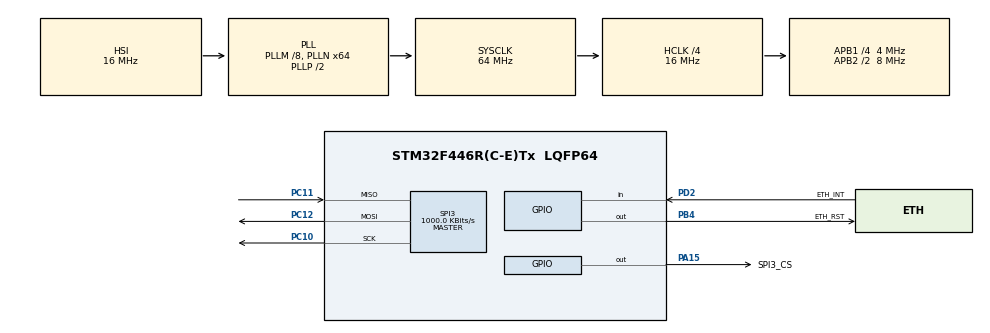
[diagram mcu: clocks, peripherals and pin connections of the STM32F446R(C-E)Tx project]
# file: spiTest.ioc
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Mcu.Family=STM32F4
Mcu.Name=STM32F446R(C-E)Tx
Mcu.Package=LQFP64
NVIC.PriorityGroup=NVIC_PRIORITYGROUP_4
PA13.Mode=Trace_Asynchronous_SW
PA13.Signal=SYS_JTMS-SWDIO
PA14.Mode=Trace_Asynchronous_SW
PA14.Signal=SYS_JTCK-SWCLK
PA15.GPIO_Label=SPI3_CS
PA15.GPIO_Speed=GPIO_SPEED_FREQ_MEDIUM
PA15.Signal=GPIO_Output
PB3.Mode=Trace_Asynchronous_SW
PB3.Signal=SYS_JTDO-SWO
PB4.GPIO_Label=ETH_RST
PB4.GPIO_Speed=GPIO_SPEED_FREQ_MEDIUM
PB4.Signal=GPIO_Output
PC10.Mode=Full_Duplex_Master
PC10.Signal=SPI3_SCK
PC11.Mode=Full_Duplex_Master
PC11.Signal=SPI3_MISO
PC12.Mode=Full_Duplex_Master
PC12.Signal=SPI3_MOSI
PC14-OSC32_IN.Mode=LSE-External-Oscillator
PC14-OSC32_IN.Signal=RCC_OSC32_IN
PC15-OSC32_OUT.Mode=LSE-External-Oscillator
PC15-OSC32_OUT.Signal=RCC_OSC32_OUT
PD2.GPIO_Label=ETH_INT
PD2.Signal=GPIO_Input
PH0-OSC_IN.Mode=HSE-External-Clock-Source
PH0-OSC_IN.Signal=RCC_OSC_IN
PH1-OSC_OUT.Mode=HSE-External-Clock-Source
PH1-OSC_OUT.Signal=RCC_OSC_OUT
ProjectManager.HeapSize=0x200
ProjectManager.StackSize=0x400
ProjectManager.TargetToolchain=STM32CubeIDE
RCC.AHBCLKDivider=RCC_SYSCLK_DIV4
RCC.AHBFreq_Value=16000000
RCC.APB1CLKDivider=RCC_HCLK_DIV4
RCC.APB1Freq_Value=4000000
RCC.APB1TimFreq_Value=8000000
RCC.APB2CLKDivider=RCC_HCLK_DIV2
RCC.APB2Freq_Value=8000000
RCC.APB2TimFreq_Value=16000000
RCC.CortexFreq_Value=16000000
RCC.HCLKFreq_Value=16000000
RCC.PLLM=8
RCC.PLLN=64
RCC.SYSCLKFreq_VALUE=64000000
RCC.SYSCLKSource=RCC_SYSCLKSOURCE_PLLCLK
RCC.USBFreq_Value=64000000
RCC.VCOOutputFreq_Value=128000000
SPI3.BaudRatePrescaler=SPI_BAUDRATEPRESCALER_4
SPI3.CLKPhase=SPI_PHASE_1EDGE
SPI3.CLKPolarity=SPI_POLARITY_LOW
SPI3.CalculateBaudRate=1000.0 KBits/s
SPI3.Direction=SPI_DIRECTION_2LINES
SPI3.Mode=SPI_MODE_MASTER
SPI3.VirtualType=VM_MASTER
TIM4.Prescaler=15
VP_TIM4_VS_ClockSourceINT.Mode=Internal
board=custom

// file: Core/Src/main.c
/* USER CODE BEGIN Header */
/**
  ******************************************************************************
  * @file           : main.c
  * @brief          : Main program body
  ******************************************************************************
  * @attention
  *
  * Copyright (c) 2022 STMicroelectronics.
  * All rights reserved.
  *
  * This software is licensed under terms that can be found in the LICENSE file
  * in the root directory of this software component.
  * If no LICENSE file comes with this software, it is provided AS-IS.
  *
  ******************************************************************************
  */
/* USER CODE END Header */
#include "main.h"
#include "stdio.h"

 SPI_HandleTypeDef hspi3;

TIM_HandleTypeDef htim4;

void SystemClock_Config(void);
static void MX_GPIO_Init(void);
static void MX_SPI3_Init(void);
static void MX_TIM4_Init(void);

int main(void)
{

  /* MCU Configuration--------------------------------------------------------*/

  /* Reset of all peripherals, Initializes the Flash interface and the Systick. */
  HAL_Init();

  /* Configure the system clock */
  SystemClock_Config();

  /* Initialize all configured peripherals */
  MX_GPIO_Init();
  MX_SPI3_Init();
  MX_TIM4_Init();
  /* USER CODE BEGIN 2 */

  HAL_TIM_Base_Start(&htim4);
  net_ini();

  /* USER CODE END 2 */

  /* Infinite loop */
  /* USER CODE BEGIN WHILE */
  uint8_t socketState = 0;
  while (1)
  {
	 HAL_Delay(10);

	 uint8_t aaa = w5100s_waitConnection();

	 if(aaa == socketState) continue;

	 else socketState = aaa;

	 if (socketState == 0x14)
	 	{
		  printf ("Socket listen !!!1\r\n");
		}

	 	 else if (socketState == 0x17)
		{
		  printf ("Socket connection is done!!!1\r\n");
		  w5100s_readMsg();
		  // проверка на прием сообщения
		}

		else if (socketState == 0x1c)
		{
		  printf ("Socket close wait!!!1\r\n");

		  w5100s_socketReOpen();
		}
		else if (socketState == 0x00)
		{
		  printf ("Socket close!!!1\r\n");

		}

	  printf ("\t socketState %d\r\n", aaa);

	  //net_ini();
    /* USER CODE END WHILE */

  }
}

void SystemClock_Config(void)
{
  RCC_OscInitTypeDef RCC_OscInitStruct = {0};
  RCC_ClkInitTypeDef RCC_ClkInitStruct = {0};

  /** Configure the main internal regulator output voltage
  */
  __HAL_RCC_PWR_CLK_ENABLE();
  __HAL_PWR_VOLTAGESCALING_CONFIG(PWR_REGULATOR_VOLTAGE_SCALE3);

  /** Initializes the RCC Oscillators according to the specified parameters
  * in the RCC_OscInitTypeDef structure.
  */
  RCC_OscInitStruct.OscillatorType = RCC_OSCILLATORTYPE_HSI;
  RCC_OscInitStruct.HSIState = RCC_HSI_ON;
  RCC_OscInitStruct.HSICalibrationValue = RCC_HSICALIBRATION_DEFAULT;
  RCC_OscInitStruct.PLL.PLLState = RCC_PLL_ON;
  RCC_OscInitStruct.PLL.PLLSource = RCC_PLLSOURCE_HSI;
  RCC_OscInitStruct.PLL.PLLM = 8;
  RCC_OscInitStruct.PLL.PLLN = 64;
  RCC_OscInitStruct.PLL.PLLP = RCC_PLLP_DIV2;
  RCC_OscInitStruct.PLL.PLLQ = 2;
  RCC_OscInitStruct.PLL.PLLR = 2;
  if (HAL_RCC_OscConfig(&RCC_OscInitStruct) != HAL_OK)
  {
    Error_Handler();
  }

  /** Initializes the CPU, AHB and APB buses clocks
  */
  RCC_ClkInitStruct.ClockType = RCC_CLOCKTYPE_HCLK|RCC_CLOCKTYPE_SYSCLK
                              |RCC_CLOCKTYPE_PCLK1|RCC_CLOCKTYPE_PCLK2;
  RCC_ClkInitStruct.SYSCLKSource = RCC_SYSCLKSOURCE_PLLCLK;
  RCC_ClkInitStruct.AHBCLKDivider = RCC_SYSCLK_DIV4;
  RCC_ClkInitStruct.APB1CLKDivider = RCC_HCLK_DIV4;
  RCC_ClkInitStruct.APB2CLKDivider = RCC_HCLK_DIV2;

  if (HAL_RCC_ClockConfig(&RCC_ClkInitStruct, FLASH_LATENCY_0) != HAL_OK)
  {
    Error_Handler();
  }
}

static void MX_SPI3_Init(void)
{

  /* SPI3 parameter configuration*/
  hspi3.Instance = SPI3;
  hspi3.Init.Mode = SPI_MODE_MASTER;
  hspi3.Init.Direction = SPI_DIRECTION_2LINES;
  hspi3.Init.DataSize = SPI_DATASIZE_8BIT;
  hspi3.Init.CLKPolarity = SPI_POLARITY_LOW;
  hspi3.Init.CLKPhase = SPI_PHASE_1EDGE;
  hspi3.Init.NSS = SPI_NSS_SOFT;
  hspi3.Init.BaudRatePrescaler = SPI_BAUDRATEPRESCALER_4;
  hspi3.Init.FirstBit = SPI_FIRSTBIT_MSB;
  hspi3.Init.TIMode = SPI_TIMODE_DISABLE;
  hspi3.Init.CRCCalculation = SPI_CRCCALCULATION_DISABLE;
  hspi3.Init.CRCPolynomial = 10;
  if (HAL_SPI_Init(&hspi3) != HAL_OK)
  {
    Error_Handler();
  }

}

static void MX_TIM4_Init(void)
{

  TIM_ClockConfigTypeDef sClockSourceConfig = {0};
  TIM_MasterConfigTypeDef sMasterConfig = {0};

  htim4.Instance = TIM4;
  htim4.Init.Prescaler = 15;
  htim4.Init.CounterMode = TIM_COUNTERMODE_UP;
  htim4.Init.Period = 65535;
  htim4.Init.ClockDivision = TIM_CLOCKDIVISION_DIV1;
  htim4.Init.AutoReloadPreload = TIM_AUTORELOAD_PRELOAD_DISABLE;
  if (HAL_TIM_Base_Init(&htim4) != HAL_OK)
  {
    Error_Handler();
  }
  sClockSourceConfig.ClockSource = TIM_CLOCKSOURCE_INTERNAL;
  if (HAL_TIM_ConfigClockSource(&htim4, &sClockSourceConfig) != HAL_OK)
  {
    Error_Handler();
  }
  sMasterConfig.MasterOutputTrigger = TIM_TRGO_RESET;
  sMasterConfig.MasterSlaveMode = TIM_MASTERSLAVEMODE_DISABLE;
  if (HAL_TIMEx_MasterConfigSynchronization(&htim4, &sMasterConfig) != HAL_OK)
  {
    Error_Handler();
  }

}

static void MX_GPIO_Init(void)
{
  GPIO_InitTypeDef GPIO_InitStruct = {0};

  /* GPIO Ports Clock Enable */
  __HAL_RCC_GPIOC_CLK_ENABLE();
  __HAL_RCC_GPIOH_CLK_ENABLE();
  __HAL_RCC_GPIOA_CLK_ENABLE();
  __HAL_RCC_GPIOD_CLK_ENABLE();
  __HAL_RCC_GPIOB_CLK_ENABLE();

  /*Configure GPIO pin Output Level */
  HAL_GPIO_WritePin(SPI3_CS_GPIO_Port, SPI3_CS_Pin, GPIO_PIN_SET);

  /*Configure GPIO pin Output Level */
  HAL_GPIO_WritePin(ETH_RST_GPIO_Port, ETH_RST_Pin, GPIO_PIN_SET);

  /*Configure GPIO pin : SPI3_CS_Pin */
  GPIO_InitStruct.Pin = SPI3_CS_Pin;
  GPIO_InitStruct.Mode = GPIO_MODE_OUTPUT_PP;
  GPIO_InitStruct.Pull = GPIO_NOPULL;
  GPIO_InitStruct.Speed = GPIO_SPEED_FREQ_MEDIUM;
  HAL_GPIO_Init(SPI3_CS_GPIO_Port, &GPIO_InitStruct);

  /*Configure GPIO pin : ETH_INT_Pin */
  GPIO_InitStruct.Pin = ETH_INT_Pin;
  GPIO_InitStruct.Mode = GPIO_MODE_INPUT;
  GPIO_InitStruct.Pull = GPIO_NOPULL;
  HAL_GPIO_Init(ETH_INT_GPIO_Port, &GPIO_InitStruct);

  /*Configure GPIO pin : ETH_RST_Pin */
  GPIO_InitStruct.Pin = ETH_RST_Pin;
  GPIO_InitStruct.Mode = GPIO_MODE_OUTPUT_PP;
  GPIO_InitStruct.Pull = GPIO_NOPULL;
  GPIO_InitStruct.Speed = GPIO_SPEED_FREQ_MEDIUM;
  HAL_GPIO_Init(ETH_RST_GPIO_Port, &GPIO_InitStruct);

}

/* USER CODE BEGIN 4 */

void usDelay(uint16_t useconds)
{
  __HAL_TIM_SET_COUNTER(&htim4, 0);
  while(__HAL_TIM_GET_COUNTER(&htim4) < useconds);
}

int __io_putchar(int ch)
{
	ITM_SendChar(ch);
	return ch;
}

/* USER CODE END 4 */

void Error_Handler(void)
{
  __disable_irq();
  while (1)
  {
  }
}
